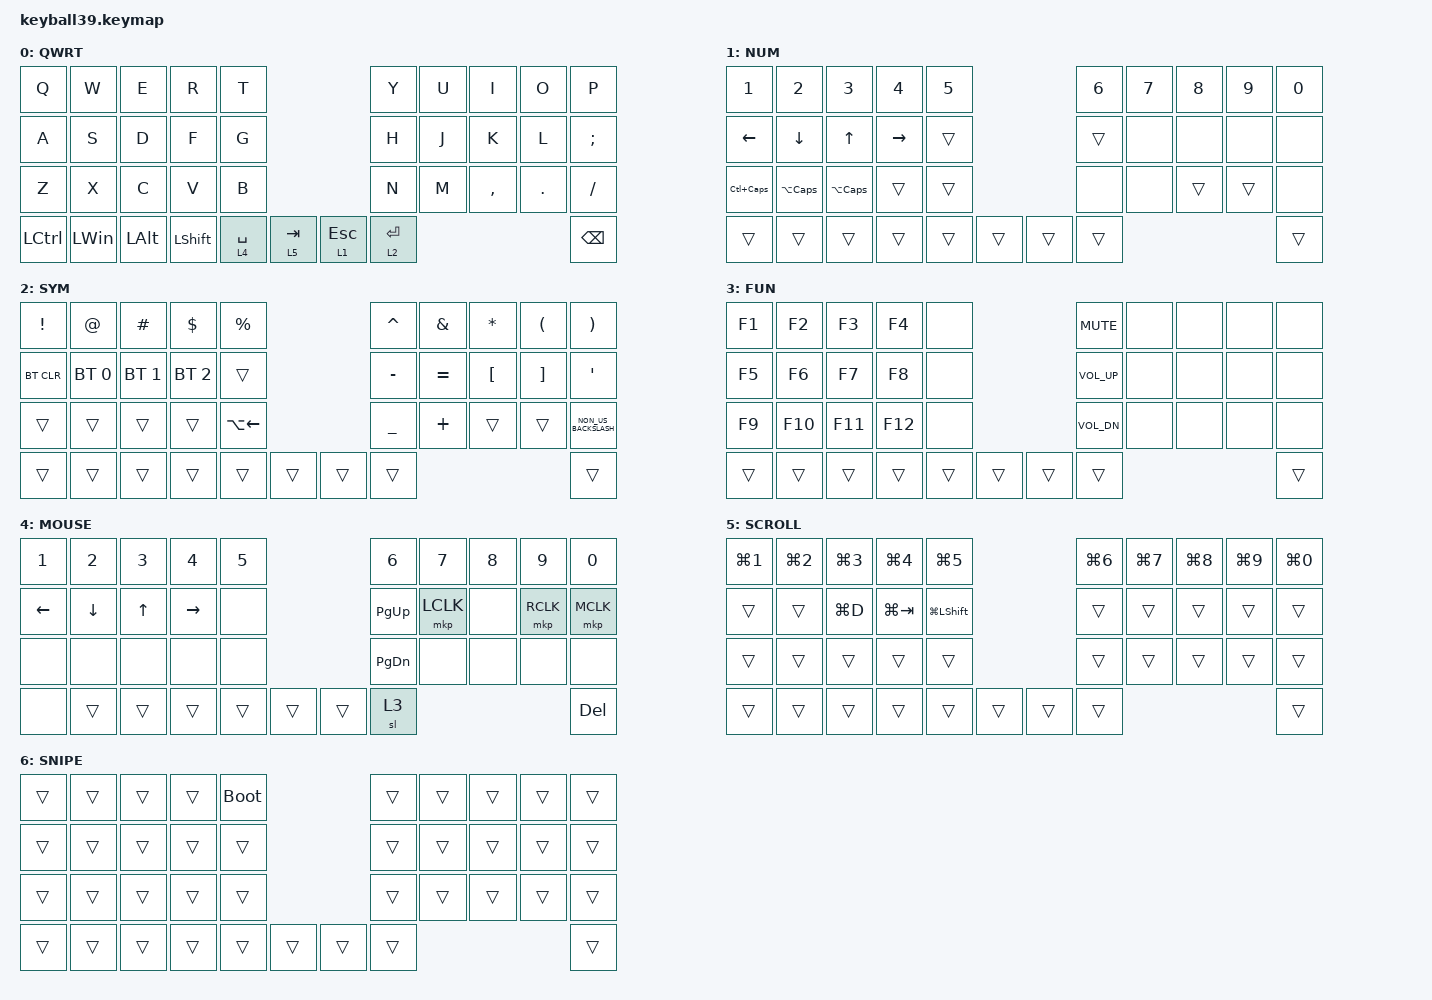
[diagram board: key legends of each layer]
#define DEFAULT 0
#define NUM     1
#define SYM     2
#define FUN     3
#define MOUSE   4
#define SCROLL  5
#define SNIPE   6

#include <behaviors/mouse_keys.dtsi>
#include <dt-bindings/zmk/mouse.h>
#include <behaviors.dtsi>
#include <dt-bindings/zmk/bt.h>
#include <dt-bindings/zmk/keys.h>
#include <dt-bindings/zmk/pointing.h>

&lt {
    tapping-term-ms = <240>;
    flavor = "balanced";
    quick-tap-ms = <150>;
};

&mt {
    tapping-term-ms = <200>;
    flavor = "tap-preferred";
    quick-tap-ms = <150>;
};

&caps_word { continue-list = <UNDERSCORE MINUS>; };

/ {
    // custom shift using mod-morph 

    behaviors {
        cmqus: comma_question {
            compatible = "zmk,behavior-mod-morph";
            label = "COMMA_QUESTION";
            #binding-cells = <0>;
            bindings = <&kp COMMA>, <&kp QUESTION>;

            mods = <(MOD_LSFT|MOD_RSFT)>;
        };

        dtsmi: dot_semi {
            compatible = "zmk,behavior-mod-morph";
            label = "DOT_SEMI";
            #binding-cells = <0>;
            bindings = <&kp DOT>, <&kp SEMI>;

            mods = <(MOD_LSFT|MOD_RSFT)>;
        };
    };

    macros {
        Hiragana: Hiragana {
            compatible = "zmk,behavior-macro";
            #binding-cells = <0>;
            bindings = <&kp LC(SPACE)>;
            label = "HIRAGANA";
        };
    };

    keymap {
        compatible = "zmk,keymap";

        default_layer {
            label = "QWRT";
            bindings = <
&kp Q      &kp W         &kp E     &kp R           &kp T                                 &kp Y        &kp U  &kp I      &kp O    &kp P
&kp A      &kp S         &kp D     &kp F           &kp G                                 &kp H        &kp J  &kp K      &kp L    &kp SEMI
&kp Z      &kp X         &kp C     &kp V           &kp B                                 &kp N        &kp M  &kp COMMA  &kp DOT  &kp SLASH
&kp LCTRL  &kp LEFT_WIN  &kp LALT  &kp LEFT_SHIFT  &lt 4 SPACE  &lt 5 TAB  &lt 1 ESCAPE  &lt 2 ENTER                             &kp BACKSPACE
            >;
        };

        number_layer {
            label = "NUM";
            bindings = <
&kp NUMBER_1      &kp NUMBER_2      &kp NUMBER_3      &kp NUMBER_4  &kp NUMBER_5                  &kp NUMBER_6  &kp NUMBER_7  &kp NUMBER_8  &kp NUMBER_9  &kp NUMBER_0
&kp LEFT          &kp DOWN          &kp UP_ARROW      &kp RIGHT     &trans                        &trans        &none         &none         &none         &none
&kp LC(CAPSLOCK)  &kp LA(CAPSLOCK)  &kp LA(CAPSLOCK)  &trans        &trans                        &none         &none         &trans        &trans        &none
&trans            &trans            &trans            &trans        &trans        &trans  &trans  &trans                                                  &trans
            >;
        };

        symbol_layer {
            label = "SYM";
            bindings = <
&kp EXCLAMATION  &kp AT_SIGN   &kp HASH      &kp DOLLAR    &kp PERCENT                   &kp CARET       &kp AMPERSAND  &kp ASTERISK      &kp LEFT_PARENTHESIS  &kp RIGHT_PARENTHESIS
&bt BT_CLR       &bt BT_SEL 0  &bt BT_SEL 1  &bt BT_SEL 2  &trans                        &kp MINUS       &kp EQUAL      &kp LEFT_BRACKET  &kp RIGHT_BRACKET     &kp SQT
&trans           &trans        &trans        &trans        &kp LA(LEFT)                  &kp UNDERSCORE  &kp PLUS       &trans            &trans                &kp NON_US_BACKSLASH
&trans           &trans        &trans        &trans        &trans        &trans  &trans  &trans                                                                 &trans
            >;
        };

        function_layer {
            label = "FUN";
            bindings = <
&kp F1  &kp F2   &kp F3   &kp F4   &none                   &kp C_MUTE    &none  &none  &none  &none
&kp F5  &kp F6   &kp F7   &kp F8   &none                   &kp C_VOL_UP  &none  &none  &none  &none
&kp F9  &kp F10  &kp F11  &kp F12  &none                   &kp C_VOL_DN  &none  &none  &none  &none
&trans  &trans   &trans   &trans   &trans  &trans  &trans  &trans                             &trans
            >;
        };

        mouse_layer {
            label = "MOUSE";
            bindings = <
&kp N1          &kp N2          &kp N3        &kp N4     &kp N5                  &kp N6         &kp N7     &kp N8  &kp N9     &kp N0
&kp LEFT_ARROW  &kp DOWN_ARROW  &kp UP_ARROW  &kp RIGHT  &none                   &kp PAGE_UP    &mkp LCLK  &none   &mkp RCLK  &mkp MCLK
&none           &none           &none         &none      &none                   &kp PAGE_DOWN  &none      &none   &none      &none
&none           &trans          &trans        &trans     &trans  &trans  &trans  &sl 3                                        &kp DELETE
            >;
        };

        scroll_layer {
            label = "SCROLL";
            bindings = <
&kp LG(NUMBER_1)  &kp LG(NUMBER_2)  &kp LG(NUMBER_3)  &kp LG(NUMBER_4)  &kp LG(NUMBER_5)                    &kp LG(NUMBER_6)  &kp LG(NUMBER_7)  &kp LG(NUMBER_8)  &kp LG(NUMBER_9)  &kp LG(NUMBER_0)
&trans            &trans            &kp LG(D)         &kp LG(TAB)       &kp LG(LEFT_SHIFT)                  &trans            &trans            &trans            &trans            &trans
&trans            &trans            &trans            &trans            &trans                              &trans            &trans            &trans            &trans            &trans
&trans            &trans            &trans            &trans            &trans              &trans  &trans  &trans                                                                  &trans
            >;
        };

        snipe_layer {
            label = "SNIPE";
            bindings = <
&trans  &trans  &trans  &trans  &bootloader                  &trans  &trans  &trans  &trans  &trans
&trans  &trans  &trans  &trans  &trans                       &trans  &trans  &trans  &trans  &trans
&trans  &trans  &trans  &trans  &trans                       &trans  &trans  &trans  &trans  &trans
&trans  &trans  &trans  &trans  &trans       &trans  &trans  &trans                          &trans
            >;
        };
    };
};
